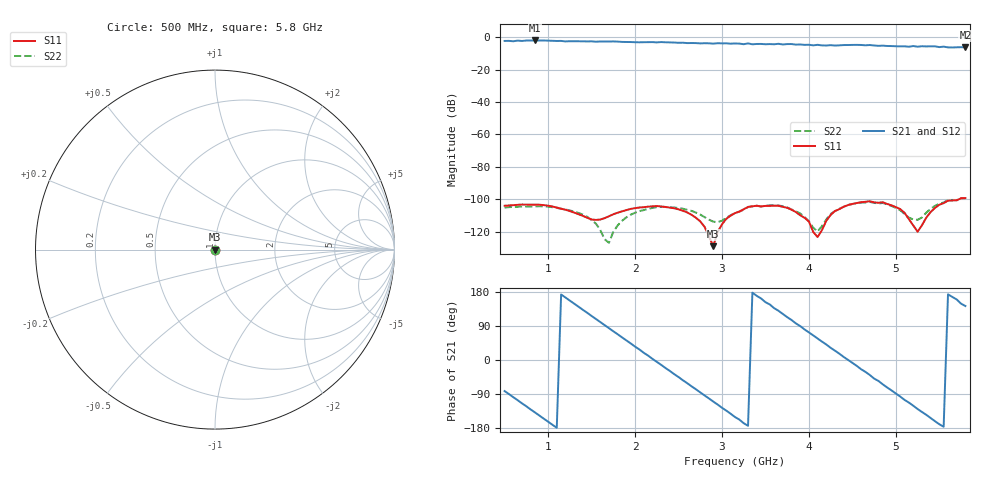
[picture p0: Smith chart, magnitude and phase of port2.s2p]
# GHZ S RI R 50
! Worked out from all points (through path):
!   107 points, 500 MHz to 5.8 GHz, reference 50 ohm
!   highest |S21| = -1.92 dB at 850 MHz (marker M1); lowest = -6.3 dB at 5.8 GHz (marker M2)
!   group delay of S21, straight-line fit = 448 ps
!   lowest |S11| = -129.0 dB at 2.9 GHz (marker M3), VSWR 1.00, Z = 50 - j9.72e-06 ohm
!   |S11| at or under -10 dB: start of sweep to end of sweep
!   |S22| runs from -126.9 to -99.3 dB; largest |S21 - S12| = 0.01
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0.5  5.3e-06 -3.4e-06  0.1075 -0.7668  0.1079 -0.7663  5.43e-06 -1.17e-06
0.65  3.26e-06 -5.89e-06  -0.2195 -0.762  -0.2187 -0.7618  5.07e-06 -2.94e-06
0.85  -8.18e-07 -6.75e-06  -0.6001 -0.5313  -0.5992 -0.5316  3.33e-06 -5.03e-06
1.15  -3.98e-06 -3.21e-06  -0.7698 0.0976  -0.7698 0.0979  -5.34e-07 -5.06e-06
1.4  -2.86e-06 -1.1e-06  -0.5084 0.5558  -0.5088 0.5568  -2.31e-06 -2.46e-06
1.75  -2.18e-06 -2.66e-06  0.1821 0.7253  0.183 0.7262  7.57e-07 -6.26e-07
2  -4.51e-06 -2.8e-06  0.5769 0.41  0.5775 0.41  1.71e-06 -3.43e-06
2.3  -5.94e-06 9.08e-07  0.6976 -0.1573  0.6978 -0.1541  -2.12e-06 -5.39e-06
2.65  -1.69e-06 2.87e-06  0.2344 -0.6247  0.2383 -0.6236  -4.2e-06 -1.19e-06
2.9  -3.42e-07 -9.72e-08  -0.2157 -0.6022  -0.2144 -0.603  -1.92e-06 -6.75e-07
3.15  -3.06e-06 -2.12e-06  -0.563 -0.3184  -0.5628 -0.3228  -2.24e-06 -3e-06
3.4  -6.31e-06 4.07e-07  -0.6136 0.1156  -0.6168 0.1189  -5.7e-06 -2.62e-06
3.65  -4.09e-06 4.79e-06  -0.4056 0.4848  -0.4016 0.4901  -6.04e-06 2.11e-06
3.8  -1.63e-06 4.48e-06  -0.1673 0.598  -0.1697 0.5951  -3.89e-06 2.91e-06
4.05  -2.57e-07 9.39e-07  0.2407 0.5127  0.2416 0.512  -9.98e-07 8.56e-07
4.25  -3.25e-06 -5.05e-07  0.4852 0.3052  0.4859 0.3065  -3.03e-06 -1.76e-06
4.5  -6.55e-06 2.95e-06  0.5786 -0.0766  0.5811 -0.0795  -7.12e-06 -9.72e-08
4.75  -3.14e-06 7.39e-06  0.3677 -0.4235  0.3666 -0.4242  -6.11e-06 4.8e-06
4.95  1.6e-06 6.28e-06  0.0914 -0.53  0.092 -0.5302  -2.65e-06 5.62e-06
5.2  1.56e-06 6.36e-10  -0.274 -0.4644  -0.2765 -0.4617  -1.6e-06 1.76e-06
5.4  -3.92e-06 -8.99e-07  -0.4722 -0.2393  -0.4726 -0.2418  -5.06e-06 6.57e-07
5.8  -4.61e-06 9.86e-06  -0.3848 0.2966  -0.3786 0.3014  -5.38e-06 9.33e-06
